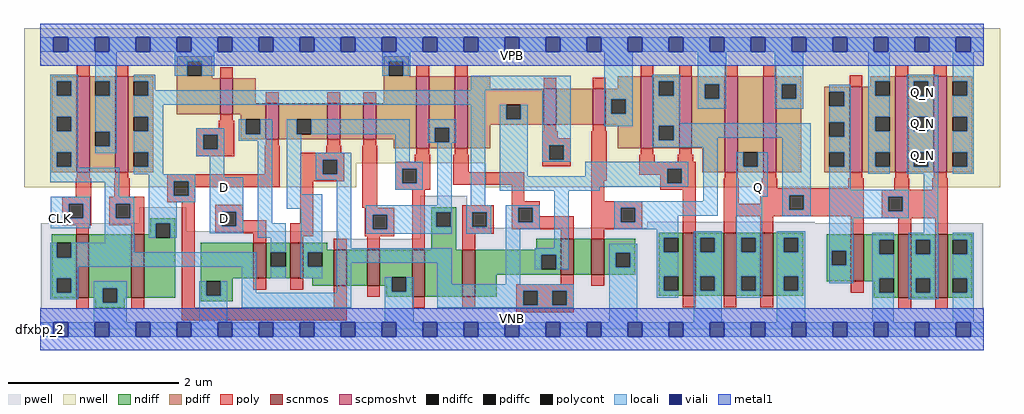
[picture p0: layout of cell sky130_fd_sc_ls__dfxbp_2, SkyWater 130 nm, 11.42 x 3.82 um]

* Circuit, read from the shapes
.subckt sky130_fd_sc_ls__dfxbp_2 CLK D VGND VNB VPB VPWR Q Q_N
XM1 VGND CLK n1 VNB sky130_fd_pr__nfet_01v8 w=0.74 l=0.15
XM2 n2 n1 VGND VNB sky130_fd_pr__nfet_01v8 w=0.74 l=0.15
XM3 n3 D VGND VNB sky130_fd_pr__nfet_01v8 w=0.42 l=0.15
XM4 n4 n1 n3 VNB sky130_fd_pr__nfet_01v8 w=0.42 l=0.15
XM5 n5 n2 n4 VNB sky130_fd_pr__nfet_01v8 w=0.42 l=0.15
XM6 VGND n6 n5 VNB sky130_fd_pr__nfet_01v8 w=0.42 l=0.15
XM7 n6 n4 VGND VNB sky130_fd_pr__nfet_01v8 w=0.55 l=0.15
XM8 n7 n2 n6 VNB sky130_fd_pr__nfet_01v8 w=0.55 l=0.15
XM9 n8 n1 n7 VNB sky130_fd_pr__nfet_01v8 w=0.42 l=0.15
XM10 VGND n9 n8 VNB sky130_fd_pr__nfet_01v8 w=0.42 l=0.15
XM11 VGND n7 n9 VNB sky130_fd_pr__nfet_01v8 w=0.74 l=0.15
XM12 Q n9 VGND VNB sky130_fd_pr__nfet_01v8 w=0.74 l=0.15 m=2
XM13 VGND n9 n10 VNB sky130_fd_pr__nfet_01v8 w=0.55 l=0.15
XM14 Q_N n10 VGND VNB sky130_fd_pr__nfet_01v8 w=0.74 l=0.15 m=2
XM15 VPWR CLK n1 VPB sky130_fd_pr__pfet_01v8_hvt w=1.12 l=0.15
XM16 n2 n1 VPWR VPB sky130_fd_pr__pfet_01v8_hvt w=1.12 l=0.15
XM17 n3 D VPWR VPB sky130_fd_pr__pfet_01v8_hvt w=0.42 l=0.15
XM18 n4 n2 n3 VPB sky130_fd_pr__pfet_01v8_hvt w=0.42 l=0.15
XM19 n11 n1 n4 VPB sky130_fd_pr__pfet_01v8_hvt w=0.42 l=0.15
XM20 VPWR n6 n11 VPB sky130_fd_pr__pfet_01v8_hvt w=0.42 l=0.15
XM21 n6 n4 VPWR VPB sky130_fd_pr__pfet_01v8_hvt w=0.84 l=0.15
XM22 n7 n1 n6 VPB sky130_fd_pr__pfet_01v8_hvt w=0.84 l=0.15
XM23 n12 n2 n7 VPB sky130_fd_pr__pfet_01v8_hvt w=0.42 l=0.15
XM24 VPWR n9 n12 VPB sky130_fd_pr__pfet_01v8_hvt w=0.42 l=0.15
XM25 n9 n7 VPWR VPB sky130_fd_pr__pfet_01v8_hvt w=0.84 l=0.15 m=2
XM26 Q n9 VPWR VPB sky130_fd_pr__pfet_01v8_hvt w=1.12 l=0.15 m=2
XM27 VPWR n9 n10 VPB sky130_fd_pr__pfet_01v8_hvt w=1 l=0.15
XM28 Q_N n10 VPWR VPB sky130_fd_pr__pfet_01v8_hvt w=1.12 l=0.15 m=2
.ends

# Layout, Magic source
magic
tech sky130A
magscale 1 2
<< nwell >>
rect -38 388 2246 704
rect -38 332 740 388
rect 1041 332 2246 388
<< pwell >>
rect 232 248 342 286
rect 1 229 342 248
rect 889 238 999 312
rect 1421 248 1812 252
rect 1421 238 2207 248
rect 1 212 698 229
rect 889 212 2207 238
rect 1 49 2207 212
rect 0 0 2208 49
<< scnmos >>
rect 84 74 114 222
rect 213 74 243 222
rect 499 119 529 203
rect 585 119 615 203
rect 687 102 717 186
rect 765 102 795 186
rect 870 76 900 186
rect 988 76 1018 186
rect 1218 128 1248 212
rect 1290 128 1320 212
rect 1504 78 1534 226
rect 1599 78 1629 226
rect 1685 78 1715 226
rect 1897 112 1927 222
rect 2008 74 2038 222
rect 2094 74 2124 222
<< scpmoshvt >>
rect 86 368 116 592
rect 176 368 206 592
rect 421 503 451 587
rect 528 445 558 529
rect 672 445 702 529
rect 756 445 786 529
rect 880 424 910 592
rect 970 424 1000 592
rect 1178 479 1208 563
rect 1293 479 1323 563
rect 1405 424 1435 592
rect 1495 424 1525 592
rect 1602 368 1632 592
rect 1692 368 1722 592
rect 1894 368 1924 568
rect 2001 368 2031 592
rect 2091 368 2121 592
<< ndiff >>
rect 258 248 316 260
rect 258 222 270 248
rect 27 202 84 222
rect 27 168 39 202
rect 73 168 84 202
rect 27 120 84 168
rect 27 86 39 120
rect 73 86 84 120
rect 27 74 84 86
rect 114 96 213 222
rect 114 74 146 96
rect 129 62 146 74
rect 180 74 213 96
rect 243 214 270 222
rect 304 214 316 248
rect 243 74 316 214
rect 180 62 198 74
rect 129 50 198 62
rect 376 119 499 203
rect 529 180 585 203
rect 529 146 540 180
rect 574 146 585 180
rect 529 119 585 146
rect 615 186 672 203
rect 915 274 973 286
rect 915 240 927 274
rect 961 240 973 274
rect 915 186 973 240
rect 1447 214 1504 226
rect 1161 186 1218 212
rect 615 180 687 186
rect 615 146 626 180
rect 660 146 687 180
rect 615 119 687 146
rect 376 112 450 119
rect 376 78 388 112
rect 422 78 450 112
rect 637 102 687 119
rect 717 102 765 186
rect 795 122 870 186
rect 795 102 823 122
rect 376 66 450 78
rect 810 88 823 102
rect 857 88 870 122
rect 810 76 870 88
rect 900 76 988 186
rect 1018 174 1218 186
rect 1018 140 1173 174
rect 1207 140 1218 174
rect 1018 128 1218 140
rect 1248 128 1290 212
rect 1320 179 1393 212
rect 1320 145 1347 179
rect 1381 145 1393 179
rect 1320 128 1393 145
rect 1447 180 1459 214
rect 1493 180 1504 214
rect 1018 76 1068 128
rect 1447 124 1504 180
rect 1447 90 1459 124
rect 1493 90 1504 124
rect 1447 78 1504 90
rect 1534 214 1599 226
rect 1534 180 1545 214
rect 1579 180 1599 214
rect 1534 124 1599 180
rect 1534 90 1545 124
rect 1579 90 1599 124
rect 1534 78 1599 90
rect 1629 214 1685 226
rect 1629 180 1640 214
rect 1674 180 1685 214
rect 1629 124 1685 180
rect 1629 90 1640 124
rect 1674 90 1685 124
rect 1629 78 1685 90
rect 1715 214 1786 226
rect 1715 180 1740 214
rect 1774 180 1786 214
rect 1715 124 1786 180
rect 1715 90 1740 124
rect 1774 90 1786 124
rect 1840 184 1897 222
rect 1840 150 1852 184
rect 1886 150 1897 184
rect 1840 112 1897 150
rect 1927 210 2008 222
rect 1927 176 1963 210
rect 1997 176 2008 210
rect 1927 120 2008 176
rect 1927 112 1963 120
rect 1715 78 1786 90
rect 1951 86 1963 112
rect 1997 86 2008 120
rect 1951 74 2008 86
rect 2038 210 2094 222
rect 2038 176 2049 210
rect 2083 176 2094 210
rect 2038 120 2094 176
rect 2038 86 2049 120
rect 2083 86 2094 120
rect 2038 74 2094 86
rect 2124 210 2181 222
rect 2124 176 2135 210
rect 2169 176 2181 210
rect 2124 120 2181 176
rect 2124 86 2135 120
rect 2169 86 2181 120
rect 2124 74 2181 86
<< pdiff >>
rect 319 627 403 639
rect 319 593 344 627
rect 378 593 403 627
rect 804 627 862 639
rect 27 580 86 592
rect 27 546 39 580
rect 73 546 86 580
rect 27 497 86 546
rect 27 463 39 497
rect 73 463 86 497
rect 27 414 86 463
rect 27 380 39 414
rect 73 380 86 414
rect 27 368 86 380
rect 116 580 176 592
rect 116 546 129 580
rect 163 546 176 580
rect 116 462 176 546
rect 116 428 129 462
rect 163 428 176 462
rect 116 368 176 428
rect 206 580 265 592
rect 206 546 219 580
rect 253 546 265 580
rect 206 497 265 546
rect 319 587 403 593
rect 804 593 816 627
rect 850 593 862 627
rect 804 592 862 593
rect 319 503 421 587
rect 451 529 504 587
rect 804 529 880 592
rect 451 503 528 529
rect 206 463 219 497
rect 253 463 265 497
rect 469 491 528 503
rect 206 414 265 463
rect 206 380 219 414
rect 253 380 265 414
rect 469 457 481 491
rect 515 457 528 491
rect 469 445 528 457
rect 558 491 672 529
rect 558 457 600 491
rect 634 457 672 491
rect 558 445 672 457
rect 702 445 756 529
rect 786 445 880 529
rect 206 368 265 380
rect 827 424 880 445
rect 910 472 970 592
rect 910 438 923 472
rect 957 438 970 472
rect 910 424 970 438
rect 1000 563 1053 592
rect 1352 563 1405 592
rect 1000 525 1178 563
rect 1000 491 1091 525
rect 1125 491 1178 525
rect 1000 479 1178 491
rect 1208 479 1293 563
rect 1323 538 1405 563
rect 1323 504 1336 538
rect 1370 504 1405 538
rect 1323 479 1405 504
rect 1000 424 1053 479
rect 1352 424 1405 479
rect 1435 580 1495 592
rect 1435 546 1448 580
rect 1482 546 1495 580
rect 1435 476 1495 546
rect 1435 442 1448 476
rect 1482 442 1495 476
rect 1435 424 1495 442
rect 1525 573 1602 592
rect 1525 539 1555 573
rect 1589 539 1602 573
rect 1525 424 1602 539
rect 1549 368 1602 424
rect 1632 414 1692 592
rect 1632 380 1645 414
rect 1679 380 1692 414
rect 1632 368 1692 380
rect 1722 573 1781 592
rect 1722 539 1735 573
rect 1769 539 1781 573
rect 1942 580 2001 592
rect 1942 568 1954 580
rect 1722 368 1781 539
rect 1835 556 1894 568
rect 1835 522 1847 556
rect 1881 522 1894 556
rect 1835 485 1894 522
rect 1835 451 1847 485
rect 1881 451 1894 485
rect 1835 414 1894 451
rect 1835 380 1847 414
rect 1881 380 1894 414
rect 1835 368 1894 380
rect 1924 546 1954 568
rect 1988 546 2001 580
rect 1924 497 2001 546
rect 1924 463 1954 497
rect 1988 463 2001 497
rect 1924 414 2001 463
rect 1924 380 1954 414
rect 1988 380 2001 414
rect 1924 368 2001 380
rect 2031 580 2091 592
rect 2031 546 2044 580
rect 2078 546 2091 580
rect 2031 497 2091 546
rect 2031 463 2044 497
rect 2078 463 2091 497
rect 2031 414 2091 463
rect 2031 380 2044 414
rect 2078 380 2091 414
rect 2031 368 2091 380
rect 2121 580 2181 592
rect 2121 546 2135 580
rect 2169 546 2181 580
rect 2121 497 2181 546
rect 2121 463 2135 497
rect 2169 463 2181 497
rect 2121 414 2181 463
rect 2121 380 2135 414
rect 2169 380 2181 414
rect 2121 368 2181 380
<< ndiffc >>
rect 39 168 73 202
rect 39 86 73 120
rect 146 62 180 96
rect 270 214 304 248
rect 540 146 574 180
rect 927 240 961 274
rect 626 146 660 180
rect 388 78 422 112
rect 823 88 857 122
rect 1173 140 1207 174
rect 1347 145 1381 179
rect 1459 180 1493 214
rect 1459 90 1493 124
rect 1545 180 1579 214
rect 1545 90 1579 124
rect 1640 180 1674 214
rect 1640 90 1674 124
rect 1740 180 1774 214
rect 1740 90 1774 124
rect 1852 150 1886 184
rect 1963 176 1997 210
rect 1963 86 1997 120
rect 2049 176 2083 210
rect 2049 86 2083 120
rect 2135 176 2169 210
rect 2135 86 2169 120
<< pdiffc >>
rect 344 593 378 627
rect 39 546 73 580
rect 39 463 73 497
rect 39 380 73 414
rect 129 546 163 580
rect 129 428 163 462
rect 219 546 253 580
rect 816 593 850 627
rect 219 463 253 497
rect 219 380 253 414
rect 481 457 515 491
rect 600 457 634 491
rect 923 438 957 472
rect 1091 491 1125 525
rect 1336 504 1370 538
rect 1448 546 1482 580
rect 1448 442 1482 476
rect 1555 539 1589 573
rect 1645 380 1679 414
rect 1735 539 1769 573
rect 1847 522 1881 556
rect 1847 451 1881 485
rect 1847 380 1881 414
rect 1954 546 1988 580
rect 1954 463 1988 497
rect 1954 380 1988 414
rect 2044 546 2078 580
rect 2044 463 2078 497
rect 2044 380 2078 414
rect 2135 546 2169 580
rect 2135 463 2169 497
rect 2135 380 2169 414
<< poly >>
rect 86 592 116 618
rect 176 592 206 618
rect 421 587 451 613
rect 880 592 910 618
rect 970 592 1000 618
rect 1405 592 1435 618
rect 1495 592 1525 618
rect 1602 592 1632 618
rect 1692 592 1722 618
rect 528 529 558 555
rect 672 529 702 555
rect 756 529 786 555
rect 421 488 451 503
rect 418 471 454 488
rect 365 455 454 471
rect 365 421 381 455
rect 415 421 454 455
rect 528 430 558 445
rect 672 430 702 445
rect 756 430 786 445
rect 365 405 454 421
rect 86 353 116 368
rect 176 353 206 368
rect 525 363 561 430
rect 669 413 705 430
rect 83 310 119 353
rect 173 310 209 353
rect 297 347 561 363
rect 297 313 313 347
rect 347 333 561 347
rect 609 397 711 413
rect 609 363 661 397
rect 695 363 711 397
rect 609 347 711 363
rect 347 313 363 333
rect 51 294 119 310
rect 51 260 67 294
rect 101 260 119 294
rect 51 244 119 260
rect 161 294 243 310
rect 297 297 363 313
rect 161 260 177 294
rect 211 260 243 294
rect 161 244 243 260
rect 84 222 114 244
rect 213 222 243 244
rect 84 48 114 74
rect 213 48 243 74
rect 331 51 361 297
rect 409 275 475 291
rect 409 241 425 275
rect 459 255 475 275
rect 459 241 529 255
rect 609 248 639 347
rect 753 284 789 430
rect 1178 563 1208 589
rect 1293 563 1323 589
rect 1178 464 1208 479
rect 1293 464 1323 479
rect 1175 447 1211 464
rect 1175 431 1241 447
rect 880 409 910 424
rect 970 409 1000 424
rect 877 392 913 409
rect 831 376 913 392
rect 831 342 847 376
rect 881 342 913 376
rect 831 326 913 342
rect 967 368 1003 409
rect 1175 397 1191 431
rect 1225 397 1241 431
rect 1175 381 1241 397
rect 967 338 1133 368
rect 409 225 529 241
rect 499 203 529 225
rect 585 218 639 248
rect 759 268 828 284
rect 759 234 778 268
rect 812 234 828 268
rect 759 218 828 234
rect 585 203 615 218
rect 687 186 717 212
rect 765 186 795 218
rect 870 186 900 326
rect 1103 300 1133 338
rect 1290 348 1326 464
rect 1405 409 1435 424
rect 1495 409 1525 424
rect 1402 392 1438 409
rect 1492 392 1528 409
rect 1402 376 1534 392
rect 1402 362 1467 376
rect 1290 300 1320 348
rect 1451 342 1467 362
rect 1501 342 1534 376
rect 1894 568 1924 594
rect 2001 592 2031 618
rect 2091 592 2121 618
rect 1602 353 1632 368
rect 1692 353 1722 368
rect 1894 353 1924 368
rect 2001 353 2031 368
rect 2091 353 2121 368
rect 1451 326 1534 342
rect 988 274 1061 290
rect 988 240 1011 274
rect 1045 240 1061 274
rect 988 224 1061 240
rect 1103 284 1169 300
rect 1103 250 1119 284
rect 1153 264 1169 284
rect 1290 284 1409 300
rect 1153 250 1248 264
rect 1103 234 1248 250
rect 988 186 1018 224
rect 1218 212 1248 234
rect 1290 250 1359 284
rect 1393 250 1409 284
rect 1290 234 1409 250
rect 1290 212 1320 234
rect 1504 226 1534 326
rect 1599 294 1635 353
rect 1689 330 1725 353
rect 1891 330 1927 353
rect 1685 314 1927 330
rect 1998 326 2034 353
rect 2088 326 2124 353
rect 1685 294 1753 314
rect 1599 280 1753 294
rect 1787 280 1927 314
rect 1599 264 1927 280
rect 1599 226 1629 264
rect 1685 226 1715 264
rect 499 93 529 119
rect 585 93 615 119
rect 687 51 717 102
rect 765 76 795 102
rect 1218 106 1248 128
rect 1114 90 1248 106
rect 1290 102 1320 128
rect 331 21 717 51
rect 870 50 900 76
rect 988 50 1018 76
rect 1114 56 1130 90
rect 1164 56 1198 90
rect 1232 56 1248 90
rect 1897 222 1927 264
rect 1969 310 2124 326
rect 1969 276 1985 310
rect 2019 276 2124 310
rect 1969 260 2124 276
rect 2008 222 2038 260
rect 2094 222 2124 260
rect 1897 86 1927 112
rect 1114 40 1248 56
rect 1504 52 1534 78
rect 1599 52 1629 78
rect 1685 52 1715 78
rect 2008 48 2038 74
rect 2094 48 2124 74
<< polycont >>
rect 381 421 415 455
rect 313 313 347 347
rect 661 363 695 397
rect 67 260 101 294
rect 177 260 211 294
rect 425 241 459 275
rect 847 342 881 376
rect 1191 397 1225 431
rect 778 234 812 268
rect 1467 342 1501 376
rect 1011 240 1045 274
rect 1119 250 1153 284
rect 1359 250 1393 284
rect 1753 280 1787 314
rect 1130 56 1164 90
rect 1198 56 1232 90
rect 1985 276 2019 310
<< locali >>
rect 0 649 31 683
rect 65 649 127 683
rect 161 649 223 683
rect 257 649 319 683
rect 353 649 415 683
rect 449 649 511 683
rect 545 649 607 683
rect 641 649 703 683
rect 737 649 799 683
rect 833 649 895 683
rect 929 649 991 683
rect 1025 649 1087 683
rect 1121 649 1183 683
rect 1217 649 1279 683
rect 1313 649 1375 683
rect 1409 649 1471 683
rect 1505 649 1567 683
rect 1601 649 1663 683
rect 1697 649 1759 683
rect 1793 649 1855 683
rect 1889 649 1951 683
rect 1985 649 2047 683
rect 2081 649 2143 683
rect 2177 649 2208 683
rect 23 580 89 596
rect 23 546 39 580
rect 73 546 89 580
rect 23 497 89 546
rect 23 463 39 497
rect 73 463 89 497
rect 23 414 89 463
rect 23 380 39 414
rect 73 380 89 414
rect 129 580 179 649
rect 315 627 407 649
rect 163 546 179 580
rect 129 462 179 546
rect 163 428 179 462
rect 129 412 179 428
rect 219 580 269 596
rect 315 593 344 627
rect 378 593 407 627
rect 800 627 866 649
rect 800 593 816 627
rect 850 593 866 627
rect 253 559 269 580
rect 1007 559 1241 593
rect 253 546 1041 559
rect 219 525 1041 546
rect 219 497 288 525
rect 253 463 288 497
rect 219 414 288 463
rect 23 378 89 380
rect 253 380 288 414
rect 365 455 431 471
rect 365 421 381 455
rect 415 421 431 455
rect 465 457 481 491
rect 515 457 543 491
rect 465 441 543 457
rect 365 405 431 421
rect 23 344 185 378
rect 219 363 288 380
rect 151 310 185 344
rect 254 347 363 363
rect 254 313 313 347
rect 347 313 363 347
rect 25 294 117 310
rect 25 260 67 294
rect 101 260 117 294
rect 25 236 117 260
rect 151 294 220 310
rect 151 260 177 294
rect 211 260 220 294
rect 151 202 220 260
rect 254 297 363 313
rect 397 356 431 405
rect 254 248 320 297
rect 254 214 270 248
rect 304 214 320 248
rect 397 275 475 356
rect 397 241 425 275
rect 459 241 475 275
rect 397 225 475 241
rect 509 248 543 441
rect 577 457 600 491
rect 634 457 865 491
rect 577 316 611 457
rect 645 397 728 413
rect 645 363 661 397
rect 695 363 728 397
rect 645 350 728 363
rect 577 282 660 316
rect 509 214 574 248
rect 23 168 39 202
rect 73 180 220 202
rect 540 180 574 214
rect 73 168 506 180
rect 23 146 506 168
rect 23 120 89 146
rect 23 86 39 120
rect 73 86 89 120
rect 23 70 89 86
rect 125 96 202 112
rect 125 62 146 96
rect 180 62 202 96
rect 125 17 202 62
rect 372 78 388 112
rect 422 78 438 112
rect 372 17 438 78
rect 472 85 506 146
rect 540 119 574 146
rect 610 180 660 282
rect 610 146 626 180
rect 610 119 660 146
rect 694 190 728 350
rect 831 392 865 457
rect 907 472 973 491
rect 907 438 923 472
rect 957 438 973 472
rect 907 436 973 438
rect 831 376 895 392
rect 831 342 847 376
rect 881 342 895 376
rect 831 326 895 342
rect 929 290 963 436
rect 1007 290 1041 525
rect 1075 491 1091 525
rect 1125 491 1141 525
rect 1075 358 1141 491
rect 1175 431 1241 559
rect 1320 538 1386 649
rect 1320 504 1336 538
rect 1370 504 1386 538
rect 1320 475 1386 504
rect 1432 580 1498 596
rect 1432 546 1448 580
rect 1482 546 1498 580
rect 1432 482 1498 546
rect 1539 573 1605 649
rect 1539 539 1555 573
rect 1589 539 1605 573
rect 1539 516 1605 539
rect 1719 573 1785 649
rect 1719 539 1735 573
rect 1769 539 1785 573
rect 1938 580 1988 649
rect 1719 516 1785 539
rect 1847 556 1897 572
rect 1881 522 1897 556
rect 1847 485 1897 522
rect 1432 476 1803 482
rect 1175 397 1191 431
rect 1225 397 1241 431
rect 1432 442 1448 476
rect 1482 448 1803 476
rect 1482 442 1585 448
rect 1432 426 1585 442
rect 1175 392 1241 397
rect 1275 376 1517 392
rect 1275 358 1467 376
rect 1075 342 1467 358
rect 1501 342 1517 376
rect 1075 334 1517 342
rect 1075 324 1309 334
rect 762 274 963 290
rect 762 268 927 274
rect 762 234 778 268
rect 812 240 927 268
rect 961 240 963 274
rect 812 234 963 240
rect 762 224 963 234
rect 997 274 1055 290
rect 997 240 1011 274
rect 1045 240 1055 274
rect 997 224 1055 240
rect 1089 284 1169 290
rect 1089 250 1119 284
rect 1153 250 1169 284
rect 1089 234 1169 250
rect 694 156 963 190
rect 694 85 728 156
rect 472 51 728 85
rect 806 88 823 122
rect 857 88 874 122
rect 806 17 874 88
rect 929 106 963 156
rect 1089 106 1123 234
rect 1203 190 1237 324
rect 1551 300 1585 426
rect 1343 284 1585 300
rect 1343 250 1359 284
rect 1393 266 1585 284
rect 1629 380 1645 414
rect 1679 380 1703 414
rect 1629 310 1703 380
rect 1737 314 1803 448
rect 1393 250 1493 266
rect 1343 234 1493 250
rect 1443 214 1493 234
rect 1157 174 1237 190
rect 1157 140 1173 174
rect 1207 140 1237 174
rect 1331 179 1397 200
rect 1331 145 1347 179
rect 1381 145 1397 179
rect 929 90 1248 106
rect 929 56 1130 90
rect 1164 56 1198 90
rect 1232 56 1248 90
rect 929 51 1248 56
rect 1331 17 1397 145
rect 1443 180 1459 214
rect 1443 124 1493 180
rect 1443 90 1459 124
rect 1443 74 1493 90
rect 1529 214 1595 230
rect 1529 180 1545 214
rect 1579 180 1595 214
rect 1529 124 1595 180
rect 1529 90 1545 124
rect 1579 90 1595 124
rect 1529 17 1595 90
rect 1629 214 1690 310
rect 1737 280 1753 314
rect 1787 280 1803 314
rect 1737 264 1803 280
rect 1881 451 1897 485
rect 1847 414 1897 451
rect 1881 380 1897 414
rect 1847 326 1897 380
rect 1938 546 1954 580
rect 1938 497 1988 546
rect 1938 463 1954 497
rect 1938 414 1988 463
rect 1938 380 1954 414
rect 1938 364 1988 380
rect 2028 580 2101 596
rect 2028 546 2044 580
rect 2078 546 2101 580
rect 2028 497 2101 546
rect 2028 463 2044 497
rect 2078 463 2101 497
rect 2028 414 2101 463
rect 2028 380 2044 414
rect 2078 380 2101 414
rect 2028 364 2101 380
rect 2135 580 2185 649
rect 2169 546 2185 580
rect 2135 497 2185 546
rect 2169 463 2185 497
rect 2135 414 2185 463
rect 2169 380 2185 414
rect 2135 364 2185 380
rect 1847 310 2033 326
rect 1847 276 1985 310
rect 2019 276 2033 310
rect 1847 260 2033 276
rect 1629 180 1640 214
rect 1674 180 1690 214
rect 1629 124 1690 180
rect 1629 90 1640 124
rect 1674 90 1690 124
rect 1629 74 1690 90
rect 1724 214 1790 230
rect 1724 180 1740 214
rect 1774 180 1790 214
rect 1724 124 1790 180
rect 1724 90 1740 124
rect 1774 90 1790 124
rect 1847 184 1902 260
rect 2067 226 2101 364
rect 1847 150 1852 184
rect 1886 150 1902 184
rect 1847 108 1902 150
rect 1947 210 1997 226
rect 1947 176 1963 210
rect 1947 120 1997 176
rect 1724 17 1790 90
rect 1947 86 1963 120
rect 1947 17 1997 86
rect 2033 210 2101 226
rect 2033 176 2049 210
rect 2083 176 2101 210
rect 2033 120 2101 176
rect 2033 86 2049 120
rect 2083 86 2101 120
rect 2033 70 2101 86
rect 2135 210 2185 226
rect 2169 176 2185 210
rect 2135 120 2185 176
rect 2169 86 2185 120
rect 2135 17 2185 86
rect 0 -17 31 17
rect 65 -17 127 17
rect 161 -17 223 17
rect 257 -17 319 17
rect 353 -17 415 17
rect 449 -17 511 17
rect 545 -17 607 17
rect 641 -17 703 17
rect 737 -17 799 17
rect 833 -17 895 17
rect 929 -17 991 17
rect 1025 -17 1087 17
rect 1121 -17 1183 17
rect 1217 -17 1279 17
rect 1313 -17 1375 17
rect 1409 -17 1471 17
rect 1505 -17 1567 17
rect 1601 -17 1663 17
rect 1697 -17 1759 17
rect 1793 -17 1855 17
rect 1889 -17 1951 17
rect 1985 -17 2047 17
rect 2081 -17 2143 17
rect 2177 -17 2208 17
<< viali >>
rect 31 649 65 683
rect 127 649 161 683
rect 223 649 257 683
rect 319 649 353 683
rect 415 649 449 683
rect 511 649 545 683
rect 607 649 641 683
rect 703 649 737 683
rect 799 649 833 683
rect 895 649 929 683
rect 991 649 1025 683
rect 1087 649 1121 683
rect 1183 649 1217 683
rect 1279 649 1313 683
rect 1375 649 1409 683
rect 1471 649 1505 683
rect 1567 649 1601 683
rect 1663 649 1697 683
rect 1759 649 1793 683
rect 1855 649 1889 683
rect 1951 649 1985 683
rect 2047 649 2081 683
rect 2143 649 2177 683
rect 31 -17 65 17
rect 127 -17 161 17
rect 223 -17 257 17
rect 319 -17 353 17
rect 415 -17 449 17
rect 511 -17 545 17
rect 607 -17 641 17
rect 703 -17 737 17
rect 799 -17 833 17
rect 895 -17 929 17
rect 991 -17 1025 17
rect 1087 -17 1121 17
rect 1183 -17 1217 17
rect 1279 -17 1313 17
rect 1375 -17 1409 17
rect 1471 -17 1505 17
rect 1567 -17 1601 17
rect 1663 -17 1697 17
rect 1759 -17 1793 17
rect 1855 -17 1889 17
rect 1951 -17 1985 17
rect 2047 -17 2081 17
rect 2143 -17 2177 17
<< metal1 >>
rect 0 683 2208 715
rect 0 649 31 683
rect 65 649 127 683
rect 161 649 223 683
rect 257 649 319 683
rect 353 649 415 683
rect 449 649 511 683
rect 545 649 607 683
rect 641 649 703 683
rect 737 649 799 683
rect 833 649 895 683
rect 929 649 991 683
rect 1025 649 1087 683
rect 1121 649 1183 683
rect 1217 649 1279 683
rect 1313 649 1375 683
rect 1409 649 1471 683
rect 1505 649 1567 683
rect 1601 649 1663 683
rect 1697 649 1759 683
rect 1793 649 1855 683
rect 1889 649 1951 683
rect 1985 649 2047 683
rect 2081 649 2143 683
rect 2177 649 2208 683
rect 0 617 2208 649
rect 0 17 2208 49
rect 0 -17 31 17
rect 65 -17 127 17
rect 161 -17 223 17
rect 257 -17 319 17
rect 353 -17 415 17
rect 449 -17 511 17
rect 545 -17 607 17
rect 641 -17 703 17
rect 737 -17 799 17
rect 833 -17 895 17
rect 929 -17 991 17
rect 1025 -17 1087 17
rect 1121 -17 1183 17
rect 1217 -17 1279 17
rect 1313 -17 1375 17
rect 1409 -17 1471 17
rect 1505 -17 1567 17
rect 1601 -17 1663 17
rect 1697 -17 1759 17
rect 1793 -17 1855 17
rect 1889 -17 1951 17
rect 1985 -17 2047 17
rect 2081 -17 2143 17
rect 2177 -17 2208 17
rect 0 -49 2208 -17
<< labels >>
rlabel comment s 0 0 0 0 4 dfxbp_2
flabel pwell s 0 0 2208 49 0 FreeSans 200 0 0 0 VNB
port 4 nsew ground bidirectional
flabel nwell s 0 617 2208 666 0 FreeSans 200 0 0 0 VPB
port 5 nsew power bidirectional
flabel metal1 s 0 617 2208 666 0 FreeSans 340 0 0 0 VPWR
port 6 nsew power bidirectional abutment
flabel metal1 s 0 0 2208 49 0 FreeSans 340 0 0 0 VGND
port 3 nsew ground bidirectional abutment
flabel locali s 31 242 65 276 0 FreeSans 340 0 0 0 CLK
port 1 nsew clock input
flabel locali s 1663 316 1697 350 0 FreeSans 340 0 0 0 Q
port 7 nsew signal output
flabel locali s 415 242 449 276 0 FreeSans 340 0 0 0 D
port 2 nsew signal input
flabel locali s 415 316 449 350 0 FreeSans 340 0 0 0 D
port 2 nsew signal input
flabel locali s 2047 390 2081 424 0 FreeSans 340 0 0 0 Q_N
port 8 nsew signal output
flabel locali s 2047 464 2081 498 0 FreeSans 340 0 0 0 Q_N
port 8 nsew signal output
flabel locali s 2047 538 2081 572 0 FreeSans 340 0 0 0 Q_N
port 8 nsew signal output
<< properties >>
string LEFsite unit
string LEFclass CORE
string FIXED_BBOX 0 0 2208 666
string GDS_FILE $PDKPATH/libs.ref/sky130_fd_sc_ls/gds/sky130_fd_sc_ls.gds
string LEFsymmetry X Y
string GDS_END 1955586
string GDS_START 1939338
<< end >>
